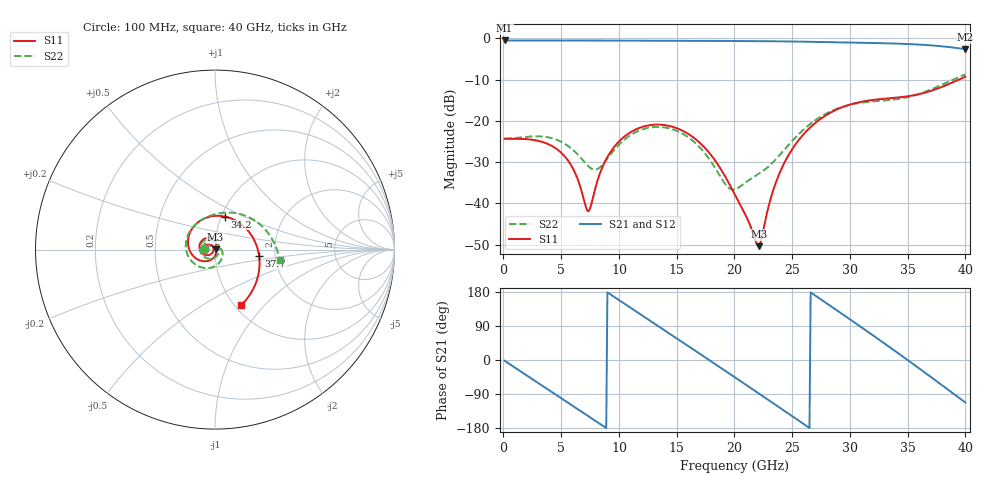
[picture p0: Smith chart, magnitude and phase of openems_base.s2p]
! B_ts6_L1L6: ThunderScope stack: L1→B.Cu, no stub
! stackup: ThunderScope Rev5.3 6-layer (FR408HR / FR-4, from the board file)
! ports: 1, 2
! openEMS 0.37.0, staircase, base mesh (dfine 0.035 mm), 548856 cells
# Hz S RI R 50
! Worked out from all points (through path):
!   400 points, 100 MHz to 40 GHz, reference 50 ohm
!   highest |S21| = -0.55 dB at 100 MHz (marker M1); lowest = -2.7 dB at 40 GHz (marker M2)
!   group delay of S21, straight-line fit = 57.4 ps
!   lowest |S11| = -50.3 dB at 22.1 GHz (marker M3), VSWR 1.01, Z = 50.3 + j0.0987 ohm
!   |S11| at or under -10 dB: start of sweep to 39.46 GHz
!   |S22| runs from -36.6 to -8.8 dB; largest |S21 - S12| = 0.021
!   S11 on the Smith chart (normalised r, x): 100 MHz: 0.89, +0.00; 34.2 GHz: 1.04, +0.40; 37.7 GHz: 1.65, -0.13; 40 GHz: 1.07, -0.75
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1e8  -0.0607 0.000683  0.9385 -0.033  0.9385 -0.033  -0.0608 0.000675
1.8e9  -0.0588 0.0134  0.7573 -0.5551  0.7578 -0.5543  -0.0617 0.0156
3.7e9  -0.0458 0.0277  0.2508 -0.9049  0.2527 -0.9044  -0.0487 0.0413
5.6e9  -0.0206 0.0257  -0.3644 -0.8652  -0.3616 -0.8663  -0.00804 0.0489
6.8e9  -0.00915 0.01  -0.687 -0.6389  -0.6845 -0.6416  0.0174 0.0296
7.4e9  -0.00811 -0.00068  -0.8055 -0.4801  -0.8033 -0.4835  0.0243 0.0136
9.8e9  -0.0421 -0.0313  -0.8901 0.2839  -0.8918 0.2787  -0.00837 -0.0473
1.17e10  -0.0809 -0.009  -0.5206 0.7726  -0.5259 0.7691  -0.067 -0.0352
1.34e10  -0.0829 0.0351  0.00578 0.9303  -0.00133 0.9304  -0.0828 0.0164
1.51e10  -0.0492 0.0638  0.5307 0.7636  0.5242 0.7682  -0.0504 0.0551
1.7e10  -0.00645 0.0539  0.8909 0.2642  0.8884 0.2729  -0.00491 0.0475
2.01e10  0.00337 0.0119  0.6318 -0.6759  0.6395 -0.6686  -0.00225 0.0147
2.21e10  0.00288 0.000981  0.031 -0.9207  0.0427 -0.9201  0.00888 0.021
2.4e10  0.0045 -0.0245  -0.556 -0.7279  -0.5456 -0.7356  0.0392 -0.0063
2.67e10  -0.0571 -0.0652  -0.9024 0.0559  -0.9036 0.0415  -0.00566 -0.0946
3.02e10  -0.1496 0.0573  -0.2014 0.8618  -0.2164 0.8593  -0.1581 -0.0127
3.17e10  -0.1087 0.1394  0.2803 0.8309  0.2661 0.8366  -0.153 0.075
3.34e10  -0.00492 0.1873  0.7105 0.4946  0.7022 0.5073  -0.0951 0.151
3.42e10  0.0537 0.1843  0.8194 0.2574  0.8148 0.2719  -0.0574 0.1749
3.59e10  0.172 0.1185  0.7879 -0.2868  0.7918 -0.2719  0.043 0.205
3.77e10  0.2461 -0.0378  0.3986 -0.6988  0.4113 -0.6875  0.1939 0.1779
4e10  0.1469 -0.3087  -0.2792 -0.681  -0.259 -0.6852  0.3599 -0.0605
